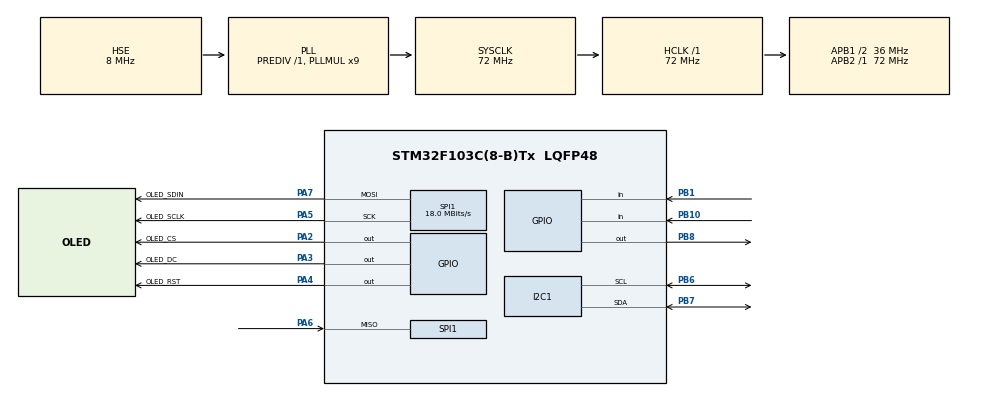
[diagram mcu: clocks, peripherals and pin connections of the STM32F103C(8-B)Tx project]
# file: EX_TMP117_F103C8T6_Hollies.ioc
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Mcu.Family=STM32F1
Mcu.Name=STM32F103C(8-B)Tx
Mcu.Package=LQFP48
NVIC.PriorityGroup=NVIC_PRIORITYGROUP_4
PA13.Mode=Serial_Wire
PA13.Signal=SYS_JTMS-SWDIO
PA14.Mode=Serial_Wire
PA14.Signal=SYS_JTCK-SWCLK
PA2.GPIO_Label=OLED_CS
PA2.Signal=GPIO_Output
PA3.GPIO_Label=OLED_DC
PA3.Signal=GPIO_Output
PA4.GPIO_Label=OLED_RST
PA4.Signal=GPIO_Output
PA5.GPIO_Label=OLED_SCLK
PA5.Mode=Full_Duplex_Master
PA5.Signal=SPI1_SCK
PA6.Mode=Full_Duplex_Master
PA6.Signal=SPI1_MISO
PA7.GPIO_Label=OLED_SDIN
PA7.Mode=Full_Duplex_Master
PA7.Signal=SPI1_MOSI
PB1.GPIO_PuPd=GPIO_PULLUP
PB1.Signal=GPIO_Input
PB10.GPIO_PuPd=GPIO_PULLUP
PB10.Signal=GPIO_Input
PB6.Mode=I2C
PB6.Signal=I2C1_SCL
PB7.Mode=I2C
PB7.Signal=I2C1_SDA
PB8.Signal=GPIO_Output
PC14-OSC32_IN.Mode=LSE-External-Oscillator
PC14-OSC32_IN.Signal=RCC_OSC32_IN
PC15-OSC32_OUT.Mode=LSE-External-Oscillator
PC15-OSC32_OUT.Signal=RCC_OSC32_OUT
PD0-OSC_IN.Mode=HSE-External-Oscillator
PD0-OSC_IN.Signal=RCC_OSC_IN
PD1-OSC_OUT.Mode=HSE-External-Oscillator
PD1-OSC_OUT.Signal=RCC_OSC_OUT
ProjectManager.HeapSize=0x200
ProjectManager.StackSize=0x400
ProjectManager.TargetToolchain=STM32CubeIDE
RCC.AHBFreq_Value=72000000
RCC.APB1CLKDivider=RCC_HCLK_DIV2
RCC.APB1Freq_Value=36000000
RCC.APB1TimFreq_Value=72000000
RCC.APB2Freq_Value=72000000
RCC.APB2TimFreq_Value=72000000
RCC.HCLKFreq_Value=72000000
RCC.PLLMUL=RCC_PLL_MUL9
RCC.PLLSourceVirtual=RCC_PLLSOURCE_HSE
RCC.SYSCLKFreq_VALUE=72000000
RCC.SYSCLKSource=RCC_SYSCLKSOURCE_PLLCLK
RCC.USBFreq_Value=72000000
SPI1.BaudRatePrescaler=SPI_BAUDRATEPRESCALER_4
SPI1.CalculateBaudRate=18.0 MBits/s
SPI1.Direction=SPI_DIRECTION_2LINES
SPI1.Mode=SPI_MODE_MASTER
SPI1.VirtualType=VM_MASTER
board=custom

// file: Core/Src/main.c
/* USER CODE BEGIN Header */
/**
  ******************************************************************************
  * @file           : main.c
  * @brief          : Main program body
  ******************************************************************************
  * @attention
  *
  * Copyright (c) 2023 STMicroelectronics.
  * All rights reserved.
  *
  * This software is licensed under terms that can be found in the LICENSE file
  * in the root directory of this software component.
  * If no LICENSE file comes with this software, it is provided AS-IS.
  *
  ******************************************************************************
  */
/* USER CODE END Header */
#include "main.h"
#include "i2c.h"
#include "spi.h"
#include "gpio.h"

/* USER CODE BEGIN Includes */
#include "oled_spi.h"
#include "bmp280.h"
#include <stdio.h>
/* USER CODE END Includes */

void SystemClock_Config(void);

/* USER CODE BEGIN 0 */
#define KEY1  HAL_GPIO_ReadPin(GPIOB,GPIO_PIN_1)
#define KEY2  HAL_GPIO_ReadPin(GPIOB,GPIO_PIN_10)
#define TMP_up  HAL_GPIO_WritePin(GPIOB,GPIO_PIN_8,SET)
#define TMP_low  HAL_GPIO_WritePin(GPIOB,GPIO_PIN_8,RESET)

char tmp[7];
char tmp1[7];
float tmp_1=30;
BMP280 *bmp280;
void oled_display()
{
	sprintf(tmp, "%.3fC", bmp280_getTemprature(bmp280, &hi2c1));
  sprintf(tmp1, "%.3fC", tmp_1);
  //显示实时温度
  OLED_ShowCHinese(20,0,0);
  OLED_ShowCHinese(35,0,1);
  OLED_ShowString(50, 0, (uint8_t*)":");
	OLED_ShowString(58, 0, (uint8_t*)tmp);

  //显示设置温度
  OLED_ShowCHinese(0,3,2);
  OLED_ShowCHinese(15,3,3);
  OLED_ShowCHinese(30,3,0);
  OLED_ShowCHinese(45,3,1);
  OLED_ShowString(60, 3, (uint8_t*)":");
  OLED_ShowString(68, 3, (uint8_t*)tmp1);

	HAL_Delay(100);
}

//按键控制设定温度
void key_tmp()
{
  //按下KEY1,温度上升
  if(KEY1==0)
  {
    HAL_Delay(50);
    if(KEY1==0)
    {
      tmp_1=tmp_1+0.1;
      while(KEY1==0);
    }
  }
  //按下KEY2，温度下降?
  if(KEY2==0)
  {
    HAL_Delay(50);
    if(KEY2==0)
    {
      tmp_1=tmp_1-0.1;
      while(KEY2==0);
    }
  }
}

void control_1()
{
  if(bmp280_getTemprature(bmp280, &hi2c1)<tmp_1)
  {
    TMP_up;
  }
  else if(bmp280_getTemprature(bmp280, &hi2c1)>tmp_1)
  {
    TMP_low;
  }
  else
  {
    TMP_up;
  }
}

/* USER CODE END 0 */

int main(void)
{

  /* MCU Configuration--------------------------------------------------------*/

  /* Reset of all peripherals, Initializes the Flash interface and the Systick. */
  HAL_Init();

  /* Configure the system clock */
  SystemClock_Config();

  /* Initialize all configured peripherals */
  MX_GPIO_Init();
  MX_I2C1_Init();
  MX_SPI1_Init();
  /* USER CODE BEGIN 2 */
  OLED_Init();
  OLED_ShowString(0, 0, (uint8_t*)"Starting...");
  HAL_Delay(100);
  OLED_Clear();
  bmp280_init(bmp280, &hi2c1);
  /* USER CODE END 2 */

  /* Infinite loop */
  while (1)
  {

    /* USER CODE BEGIN 3 */
	  oled_display();
    key_tmp();
    control_1();
  }
  /* USER CODE END 3 */
}

void SystemClock_Config(void)
{
  RCC_OscInitTypeDef RCC_OscInitStruct = {0};
  RCC_ClkInitTypeDef RCC_ClkInitStruct = {0};

  /** Initializes the RCC Oscillators according to the specified parameters
  * in the RCC_OscInitTypeDef structure.
  */
  RCC_OscInitStruct.OscillatorType = RCC_OSCILLATORTYPE_HSE;
  RCC_OscInitStruct.HSEState = RCC_HSE_ON;
  RCC_OscInitStruct.HSEPredivValue = RCC_HSE_PREDIV_DIV1;
  RCC_OscInitStruct.HSIState = RCC_HSI_ON;
  RCC_OscInitStruct.PLL.PLLState = RCC_PLL_ON;
  RCC_OscInitStruct.PLL.PLLSource = RCC_PLLSOURCE_HSE;
  RCC_OscInitStruct.PLL.PLLMUL = RCC_PLL_MUL9;
  if (HAL_RCC_OscConfig(&RCC_OscInitStruct) != HAL_OK)
  {
    Error_Handler();
  }

  /** Initializes the CPU, AHB and APB buses clocks
  */
  RCC_ClkInitStruct.ClockType = RCC_CLOCKTYPE_HCLK|RCC_CLOCKTYPE_SYSCLK
                              |RCC_CLOCKTYPE_PCLK1|RCC_CLOCKTYPE_PCLK2;
  RCC_ClkInitStruct.SYSCLKSource = RCC_SYSCLKSOURCE_PLLCLK;
  RCC_ClkInitStruct.AHBCLKDivider = RCC_SYSCLK_DIV1;
  RCC_ClkInitStruct.APB1CLKDivider = RCC_HCLK_DIV2;
  RCC_ClkInitStruct.APB2CLKDivider = RCC_HCLK_DIV1;

  if (HAL_RCC_ClockConfig(&RCC_ClkInitStruct, FLASH_LATENCY_2) != HAL_OK)
  {
    Error_Handler();
  }
}

void Error_Handler(void)
{
  __disable_irq();
  while (1)
  {
  }
}
